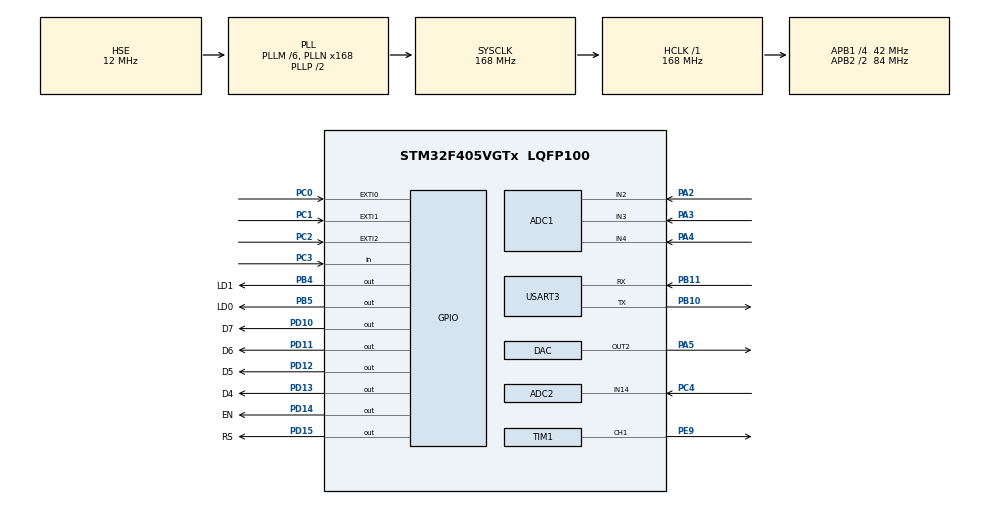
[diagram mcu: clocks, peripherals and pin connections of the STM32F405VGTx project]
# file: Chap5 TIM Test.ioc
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ADC1.Channel-0\#ChannelRegularConversion=ADC_CHANNEL_2
ADC1.Channel-1\#ChannelRegularConversion=ADC_CHANNEL_3
ADC1.Channel-2\#ChannelRegularConversion=ADC_CHANNEL_4
ADC1.ClockPrescaler=ADC_CLOCK_SYNC_PCLK_DIV4
ADC1.ContinuousConvMode=ENABLE
ADC1.DMAContinuousRequests=ENABLE
ADC1.DiscontinuousConvMode=DISABLE
ADC1.EnableAnalogWatchDog=false
ADC1.InjNumberOfConversion=0
ADC1.NbrOfConversion=3
ADC1.NbrOfConversionFlag=1
ADC1.Rank-0\#ChannelRegularConversion=1
ADC1.Rank-1\#ChannelRegularConversion=2
ADC1.Rank-2\#ChannelRegularConversion=3
ADC1.SamplingTime-0\#ChannelRegularConversion=ADC_SAMPLETIME_84CYCLES
ADC1.SamplingTime-1\#ChannelRegularConversion=ADC_SAMPLETIME_84CYCLES
ADC1.SamplingTime-2\#ChannelRegularConversion=ADC_SAMPLETIME_84CYCLES
ADC1.ScanConvMode=ENABLE
ADC1.master=1
ADC2.Channel-1\#ChannelRegularConversion=ADC_CHANNEL_14
ADC2.ClockPrescaler=ADC_CLOCK_SYNC_PCLK_DIV4
ADC2.ContinuousConvMode=ENABLE
ADC2.DMAContinuousRequests=ENABLE
ADC2.NbrOfConversionFlag=1
ADC2.Rank-1\#ChannelRegularConversion=1
ADC2.SamplingTime-1\#ChannelRegularConversion=ADC_SAMPLETIME_84CYCLES
ADC2.ScanConvMode=DISABLE
Dma.ADC1.0.Direction=DMA_PERIPH_TO_MEMORY
Dma.ADC1.0.FIFOMode=DMA_FIFOMODE_DISABLE
Dma.ADC1.0.Instance=DMA2_Stream0
Dma.ADC1.0.MemDataAlignment=DMA_MDATAALIGN_HALFWORD
Dma.ADC1.0.MemInc=DMA_MINC_ENABLE
Dma.ADC1.0.Mode=DMA_CIRCULAR
Dma.ADC1.0.PeriphDataAlignment=DMA_PDATAALIGN_HALFWORD
Dma.ADC1.0.PeriphInc=DMA_PINC_DISABLE
Dma.ADC1.0.Priority=DMA_PRIORITY_LOW
Dma.ADC2.1.Direction=DMA_PERIPH_TO_MEMORY
Dma.ADC2.1.FIFOMode=DMA_FIFOMODE_DISABLE
Dma.ADC2.1.Instance=DMA2_Stream2
Dma.ADC2.1.MemDataAlignment=DMA_MDATAALIGN_HALFWORD
Dma.ADC2.1.MemInc=DMA_MINC_DISABLE
Dma.ADC2.1.Mode=DMA_CIRCULAR
Dma.ADC2.1.PeriphDataAlignment=DMA_PDATAALIGN_HALFWORD
Dma.ADC2.1.PeriphInc=DMA_PINC_DISABLE
Dma.ADC2.1.Priority=DMA_PRIORITY_LOW
Dma.Request0=ADC1
Dma.Request1=ADC2
Mcu.Family=STM32F4
Mcu.Name=STM32F405VGTx
Mcu.Package=LQFP100
NVIC.DMA2_Stream0_IRQn=true\:0\:0\:false\:false\:true\:false\:true\:true
NVIC.DMA2_Stream2_IRQn=true\:0\:0\:false\:false\:true\:false\:true\:true
NVIC.EXTI0_IRQn=true\:0\:0\:false\:true\:true\:1\:true\:true\:true
NVIC.EXTI1_IRQn=true\:0\:0\:false\:true\:true\:2\:true\:true\:true
NVIC.EXTI2_IRQn=true\:0\:0\:false\:true\:true\:3\:true\:true\:true
NVIC.PriorityGroup=NVIC_PRIORITYGROUP_4
NVIC.TIM6_DAC_IRQn=true\:0\:0\:false\:true\:true\:5\:true\:true\:true
NVIC.TIM7_IRQn=true\:0\:0\:false\:true\:true\:6\:true\:true\:true
NVIC.USART3_IRQn=true\:0\:0\:false\:true\:true\:4\:true\:true\:true
PA2.Signal=ADCx_IN2
PA3.Signal=ADCx_IN3
PA4.Signal=ADCx_IN4
PA5.Signal=COMP_DAC2_group
PB10.Mode=Asynchronous
PB10.Signal=USART3_TX
PB11.Mode=Asynchronous
PB11.Signal=USART3_RX
PB4.GPIO_Label=LD1
PB4.Signal=GPIO_Output
PB5.GPIO_Label=LD0
PB5.Signal=GPIO_Output
PC0.GPIO_ModeDefaultEXTI=GPIO_MODE_IT_FALLING
PC0.Signal=GPXTI0
PC1.GPIO_ModeDefaultEXTI=GPIO_MODE_IT_FALLING
PC1.Signal=GPXTI1
PC2.GPIO_ModeDefaultEXTI=GPIO_MODE_IT_FALLING
PC2.Signal=GPXTI2
PC3.Signal=GPIO_Input
PC4.Signal=ADCx_IN14
PD10.GPIO_Label=D7
PD10.Signal=GPIO_Output
PD11.GPIO_Label=D6
PD11.Signal=GPIO_Output
PD12.GPIO_Label=D5
PD12.Signal=GPIO_Output
PD13.GPIO_Label=D4
PD13.Signal=GPIO_Output
PD14.GPIO_Label=EN
PD14.Signal=GPIO_Output
PD15.GPIO_Label=RS
PD15.Signal=GPIO_Output
PE9.Signal=S_TIM1_CH1
PH0-OSC_IN.Mode=HSE-External-Oscillator
PH0-OSC_IN.Signal=RCC_OSC_IN
PH1-OSC_OUT.Mode=HSE-External-Oscillator
PH1-OSC_OUT.Signal=RCC_OSC_OUT
ProjectManager.HeapSize=0x200
ProjectManager.StackSize=0x400
ProjectManager.TargetToolchain=STM32CubeIDE
RCC.48MHZClocksFreq_Value=84000000
RCC.AHBFreq_Value=168000000
RCC.APB1CLKDivider=RCC_HCLK_DIV4
RCC.APB1Freq_Value=42000000
RCC.APB1TimFreq_Value=84000000
RCC.APB2CLKDivider=RCC_HCLK_DIV2
RCC.APB2Freq_Value=84000000
RCC.APB2TimFreq_Value=168000000
RCC.CortexFreq_Value=168000000
RCC.HCLKFreq_Value=168000000
RCC.HSE_VALUE=12000000
RCC.HSI_VALUE=16000000
RCC.LSE_VALUE=32768
RCC.PLLM=6
RCC.PLLN=168
RCC.PLLSourceVirtual=RCC_PLLSOURCE_HSE
RCC.SYSCLKFreq_VALUE=168000000
RCC.SYSCLKSource=RCC_SYSCLKSOURCE_PLLCLK
RCC.VCOOutputFreq_Value=336000000
SH.ADCx_IN14.0=ADC2_IN14,IN14
SH.ADCx_IN2.0=ADC1_IN2,IN2
SH.ADCx_IN3.0=ADC1_IN3,IN3
SH.ADCx_IN4.0=ADC1_IN4,IN4
SH.COMP_DAC2_group.0=DAC_OUT2,DAC_OUT2
SH.S_TIM1_CH1.0=TIM1_CH1,PWM Generation1 CH1
TIM1.Channel-PWM\ Generation1\ CH1=TIM_CHANNEL_1
TIM4.Prescaler=83
TIM6.AutoReloadPreload=TIM_AUTORELOAD_PRELOAD_DISABLE
TIM6.Period=10000-1
TIM6.Prescaler=8400-1
TIM7.Period=9999
TIM7.Prescaler=4200-1
USART3.VirtualMode=VM_ASYNC
VP_TIM1_VS_ClockSourceINT.Mode=Internal
VP_TIM4_VS_ClockSourceINT.Mode=Internal
VP_TIM6_VS_ClockSourceINT.Mode=Enable_Timer
VP_TIM7_VS_ClockSourceINT.Mode=Enable_Timer
board=custom

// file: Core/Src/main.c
/* USER CODE BEGIN Header */
/**
  ******************************************************************************
  * @file           : main.c
  * @brief          : Main program body
  ******************************************************************************
  * @attention
  *
  * Copyright (c) 2025 STMicroelectronics.
  * All rights reserved.
  *
  * This software is licensed under terms that can be found in the LICENSE file
  * in the root directory of this software component.
  * If no LICENSE file comes with this software, it is provided AS-IS.
  *
  ******************************************************************************
  */
/* USER CODE END Header */
#include "main.h"
#include "adc.h"
#include "dac.h"
#include "dma.h"
#include "tim.h"
#include "usart.h"
#include "gpio.h"

/* USER CODE BEGIN Includes */
#include "stdio.h"
#include "CLCD.h"

/* USER CODE END Includes */

/* USER CODE BEGIN PM */
int _write(int file, char* p, int len){
	HAL_UART_Transmit(&huart3, p, len, 10);
	return len;
}

/* USER CODE END PM */

/* USER CODE BEGIN PV */
uint8_t rx_data = 0;
uint8_t lcd_flag = 0;

uint16_t adc1_val[3] = {0,};
uint16_t adc2_val = 0;
/* USER CODE END PV */

void SystemClock_Config(void);
static void MX_NVIC_Init(void);

/* USER CODE BEGIN 0 */
long map(long x, long in_min, long in_max, long out_min, long out_max) {
  return (x - in_min) * (out_max - out_min) / (in_max - in_min) + out_min;
}

/* USER CODE END 0 */

int main(void)
{

  /* MCU Configuration--------------------------------------------------------*/

  /* Reset of all peripherals, Initializes the Flash interface and the Systick. */
  HAL_Init();

  /* Configure the system clock */
  SystemClock_Config();

  /* Initialize all configured peripherals */
  MX_GPIO_Init();
  MX_DMA_Init();
  MX_USART3_UART_Init();
  MX_TIM4_Init();
  MX_ADC1_Init();
  MX_DAC_Init();
  MX_ADC2_Init();
  MX_TIM1_Init();
  MX_TIM6_Init();
  MX_TIM7_Init();

  /* Initialize interrupts */
  MX_NVIC_Init();
  /* USER CODE BEGIN 2 */
  HAL_TIM_Base_Start_IT(&htim6);
  HAL_TIM_Base_Start_IT(&htim7);

  lcd_Init(4, 20);
  uint8_t str[21];

  uint32_t cnt = 0;

  HAL_ADC_Start_DMA(&hadc1, &adc1_val[0], sizeof(adc1_val));
  HAL_ADC_Start_DMA(&hadc2, &adc2_val, 1);

  HAL_DAC_Start(&hdac, DAC_CHANNEL_2);

  /* USER CODE END 2 */

  /* Infinite loop */
  /* USER CODE BEGIN WHILE */
  while (1)
  {
	  // 예시 1 LCD 디스플레이 주기를 TIM 인터럽트를 통해 수행(Delay 사용 X)
	  if(lcd_flag) {
		  lcd_flag = 0;

		  sprintf(str, "VR1: %4d  VR2: %4d", adc1_val[0], adc1_val[1]);
		  lcd_setCurStr(0, 0, str);

		  sprintf(str, "VR3: %4d  CDS: %4d", adc1_val[2], adc2_val);
		  lcd_setCurStr(0, 1, str);

		  cnt++;
	  }

	  sprintf(str, "Count: %d", cnt);
	  lcd_setCurStr(0, 2, str);
    /* USER CODE END WHILE */

  }
}

void SystemClock_Config(void)
{
  RCC_OscInitTypeDef RCC_OscInitStruct = {0};
  RCC_ClkInitTypeDef RCC_ClkInitStruct = {0};

  /** Configure the main internal regulator output voltage
  */
  __HAL_RCC_PWR_CLK_ENABLE();
  __HAL_PWR_VOLTAGESCALING_CONFIG(PWR_REGULATOR_VOLTAGE_SCALE1);

  /** Initializes the RCC Oscillators according to the specified parameters
  * in the RCC_OscInitTypeDef structure.
  */
  RCC_OscInitStruct.OscillatorType = RCC_OSCILLATORTYPE_HSE;
  RCC_OscInitStruct.HSEState = RCC_HSE_ON;
  RCC_OscInitStruct.PLL.PLLState = RCC_PLL_ON;
  RCC_OscInitStruct.PLL.PLLSource = RCC_PLLSOURCE_HSE;
  RCC_OscInitStruct.PLL.PLLM = 6;
  RCC_OscInitStruct.PLL.PLLN = 168;
  RCC_OscInitStruct.PLL.PLLP = RCC_PLLP_DIV2;
  RCC_OscInitStruct.PLL.PLLQ = 4;
  if (HAL_RCC_OscConfig(&RCC_OscInitStruct) != HAL_OK)
  {
    Error_Handler();
  }

  /** Initializes the CPU, AHB and APB buses clocks
  */
  RCC_ClkInitStruct.ClockType = RCC_CLOCKTYPE_HCLK|RCC_CLOCKTYPE_SYSCLK
                              |RCC_CLOCKTYPE_PCLK1|RCC_CLOCKTYPE_PCLK2;
  RCC_ClkInitStruct.SYSCLKSource = RCC_SYSCLKSOURCE_PLLCLK;
  RCC_ClkInitStruct.AHBCLKDivider = RCC_SYSCLK_DIV1;
  RCC_ClkInitStruct.APB1CLKDivider = RCC_HCLK_DIV4;
  RCC_ClkInitStruct.APB2CLKDivider = RCC_HCLK_DIV2;

  if (HAL_RCC_ClockConfig(&RCC_ClkInitStruct, FLASH_LATENCY_5) != HAL_OK)
  {
    Error_Handler();
  }
}

/**
  * @brief NVIC Configuration.
  * @retval None
  */
static void MX_NVIC_Init(void)
{
  /* EXTI0_IRQn interrupt configuration */
  HAL_NVIC_SetPriority(EXTI0_IRQn, 0, 0);
  HAL_NVIC_EnableIRQ(EXTI0_IRQn);
  /* EXTI1_IRQn interrupt configuration */
  HAL_NVIC_SetPriority(EXTI1_IRQn, 0, 0);
  HAL_NVIC_EnableIRQ(EXTI1_IRQn);
  /* EXTI2_IRQn interrupt configuration */
  HAL_NVIC_SetPriority(EXTI2_IRQn, 0, 0);
  HAL_NVIC_EnableIRQ(EXTI2_IRQn);
  /* USART3_IRQn interrupt configuration */
  HAL_NVIC_SetPriority(USART3_IRQn, 0, 0);
  HAL_NVIC_EnableIRQ(USART3_IRQn);
  /* TIM6_DAC_IRQn interrupt configuration */
  HAL_NVIC_SetPriority(TIM6_DAC_IRQn, 0, 0);
  HAL_NVIC_EnableIRQ(TIM6_DAC_IRQn);
  /* TIM7_IRQn interrupt configuration */
  HAL_NVIC_SetPriority(TIM7_IRQn, 0, 0);
  HAL_NVIC_EnableIRQ(TIM7_IRQn);
}

/* USER CODE BEGIN 4 */
void HAL_GPIO_EXTI_Callback(uint16_t GPIO_Pin)
{
	if(GPIO_Pin == GPIO_PIN_0) {

	}
	else if(GPIO_Pin == GPIO_PIN_1) {

	}
	else if(GPIO_Pin == GPIO_PIN_2) {

	}
}

void HAL_UART_RxCpltCallback(UART_HandleTypeDef *huart)
{
	if(huart->Instance == USART3) {
		HAL_UART_Receive_IT(&huart3, &rx_data, 1);
		HAL_UART_Transmit(&huart3, &rx_data, 1, 1000);
	}
}

void HAL_TIM_PeriodElapsedCallback(TIM_HandleTypeDef *htim)
{
	if(htim -> Instance == TIM6) {
		lcd_flag = 1;
		HAL_GPIO_TogglePin(LD0_GPIO_Port, LD0_Pin);
	}
	if(htim -> Instance == TIM7) {
//		lcd_flag = 1;
		HAL_GPIO_TogglePin(LD1_GPIO_Port, LD1_Pin);
	}
}

/* USER CODE END 4 */

void Error_Handler(void)
{
  __disable_irq();
  while (1)
  {
  }
}
